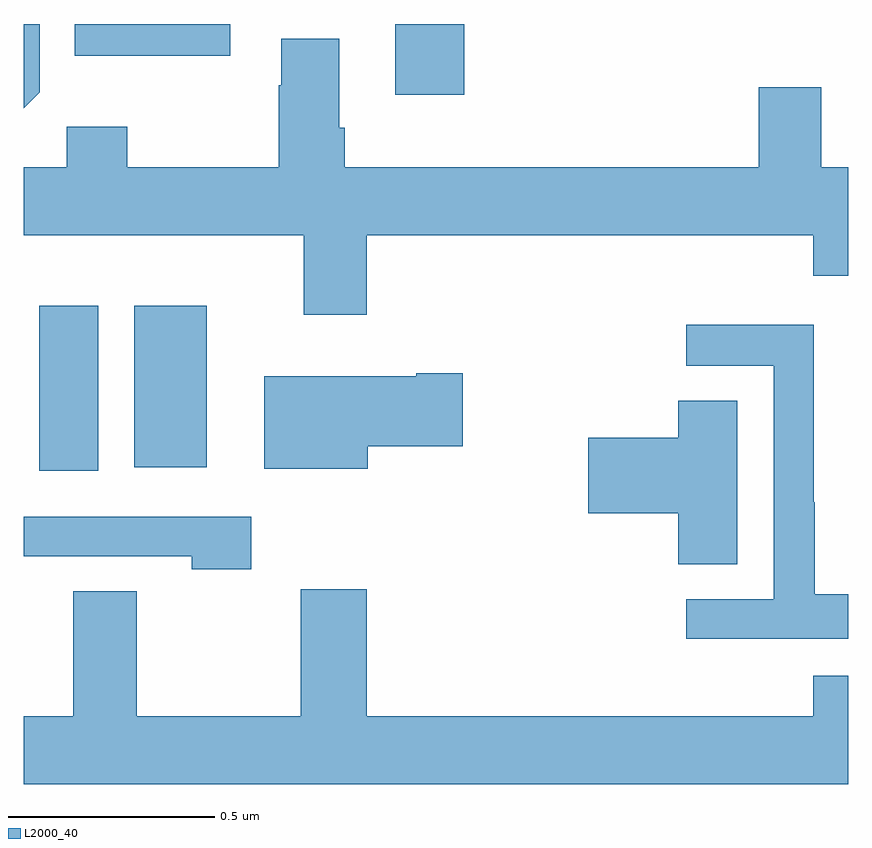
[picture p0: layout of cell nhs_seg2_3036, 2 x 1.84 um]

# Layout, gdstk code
import gdstk
lib = gdstk.Library(unit=1e-6, precision=1e-09)
def R(c, l, rs):  # rectangles x0, y0, x1, y1
    for r in rs: c.add(gdstk.rectangle(r[:2], r[2:], *l))
def P(c, l, *ps):  # polygons
    for p in ps: c.add(gdstk.Polygon(p, *l))
L2000_40 = (2000, 40)

nhs_seg2_3036 = lib.new_cell('nhs_seg2_3036')
R(nhs_seg2_3036, L2000_40, [(148.037,661.716,148.18,662.116), (148.268,661.724,148.444,662.116), (148.901,662.628,149.069,662.8), (148.123,662.723,148.501,662.8)])
P(nhs_seg2_3036, L2000_40, [(148.038,662.634),(148.038,662.8),(148,662.8),(148,662.596)],
  [(148.832,662.288),(149.915,662.288),(149.915,662.189),(150,662.189),(150,662.452),(149.935,662.452),(149.935,662.647),(149.783,662.647),(149.783,662.452),(148.778,662.452),(148.778,662.548),(148.765,662.548),(148.765,662.764),(148.625,662.764),(148.625,662.651),(148.618,662.651),(148.618,662.452),(148.251,662.452),(148.251,662.551),(148.104,662.551),(148.104,662.452),(148,662.452),(148,662.288),(148.679,662.288),(148.679,662.094),(148.832,662.094)],
  [(150,661.417),(149.919,661.417),(149.919,661.64),(149.916,661.64),(149.916,662.07),(149.607,662.07),(149.607,661.971),(149.82,661.971),(149.82,661.404),(149.607,661.404),(149.607,661.308),(150,661.308)],
  [(148.834,661.775),(149.065,661.775),(149.065,661.953),(148.952,661.953),(148.952,661.945),(148.583,661.945),(148.583,661.721),(148.834,661.721)],
  [(149.731,661.886),(149.588,661.886),(149.588,661.796),(149.37,661.796),(149.37,661.613),(149.588,661.613),(149.588,661.489),(149.731,661.489)],
  [(148.552,661.605),(148,661.605),(148,661.509),(148.407,661.509),(148.407,661.477),(148.552,661.477)],
  [(150,661.219),(149.915,661.219),(149.915,661.12),(148.832,661.12),(148.832,661.429),(148.672,661.429),(148.672,661.12),(148.274,661.12),(148.274,661.424),(148.12,661.424),(148.12,661.12),(148,661.12),(148,660.956),(150,660.956)])

lib.write_gds('nhs_seg2_3036.gds')
